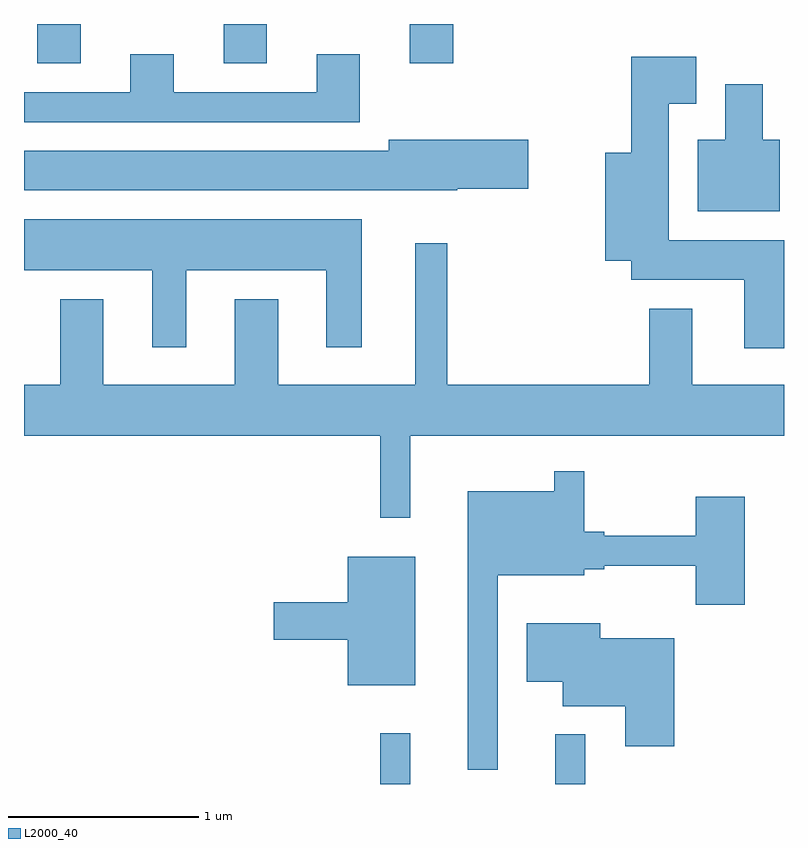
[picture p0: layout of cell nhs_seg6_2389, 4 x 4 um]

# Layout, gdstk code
import gdstk
lib = gdstk.Library(unit=1e-6, precision=1e-09)
def R(c, l, rs):  # rectangles x0, y0, x1, y1
    for r in rs: c.add(gdstk.rectangle(r[:2], r[2:], *l))
def A(c, l, x, y, w, h, nx, ny, dx, dy):  # array of equal rectangles
    R(c, l, [(x+i*dx, y+j*dy, x+i*dx+w, y+j*dy+h) for i in range(nx) for j in range(ny)])
def P(c, l, *ps):  # polygons
    for p in ps: c.add(gdstk.Polygon(p, *l))
L2000_40 = (2000, 40)

nhs_seg6_2389 = lib.new_cell('nhs_seg6_2389')
A(nhs_seg6_2389, L2000_40, 257.681, 1591.956, 0.228, 0.206, 3, 1, 0.98, 0)
R(nhs_seg6_2389, L2000_40, [(259.486,1588.162,259.644,1588.428), (260.406,1588.162,260.564,1588.423)])
P(nhs_seg6_2389, L2000_40, [(259.379,1592.004),(259.151,1592.004),(259.151,1591.804),(258.399,1591.804),(258.399,1592.004),(258.171,1592.004),(258.171,1591.804),(257.611,1591.804),(257.611,1591.646),(259.379,1591.646)],
  [(261.611,1591.024),(261.004,1591.024),(261.004,1591.741),(261.149,1591.741),(261.149,1591.989),(260.806,1591.989),(260.806,1591.484),(260.671,1591.484),(260.671,1590.916),(260.806,1590.916),(260.806,1590.816),(261.401,1590.816),(261.401,1590.456),(261.611,1590.456)],
  [(261.589,1591.554),(261.499,1591.554),(261.499,1591.844),(261.301,1591.844),(261.301,1591.554),(261.156,1591.554),(261.156,1591.176),(261.589,1591.176)],
  [(259.89,1591.296),(260.264,1591.296),(260.264,1591.554),(259.531,1591.554),(259.531,1591.494),(257.611,1591.494),(257.611,1591.286),(259.89,1591.286)],
  [(258.464,1590.866),(259.201,1590.866),(259.201,1590.461),(259.389,1590.461),(259.389,1591.134),(257.611,1591.134),(257.611,1590.866),(258.286,1590.866),(258.286,1590.461),(258.464,1590.461)],
  [(259.644,1589.996),(261.611,1589.996),(261.611,1590.264),(261.129,1590.264),(261.129,1590.664),(260.901,1590.664),(260.901,1590.264),(259.839,1590.264),(259.839,1591.008),(259.671,1591.008),(259.671,1590.264),(258.949,1590.264),(258.949,1590.714),(258.721,1590.714),(258.721,1590.264),(258.029,1590.264),(258.029,1590.714),(257.801,1590.714),(257.801,1590.264),(257.611,1590.264),(257.611,1589.996),(259.486,1589.996),(259.486,1589.563),(259.644,1589.563)],
  [(260.104,1589.261),(260.559,1589.261),(260.559,1589.291),(260.664,1589.291),(260.664,1589.311),(261.146,1589.311),(261.146,1589.106),(261.404,1589.106),(261.404,1589.674),(261.146,1589.674),(261.146,1589.469),(260.664,1589.469),(260.664,1589.489),(260.559,1589.489),(260.559,1589.808),(260.401,1589.808),(260.401,1589.704),(259.946,1589.704),(259.946,1588.238),(260.104,1588.238)],
  [(259.669,1589.359),(259.316,1589.359),(259.316,1589.119),(258.926,1589.119),(258.926,1588.921),(259.316,1588.921),(259.316,1588.681),(259.669,1588.681)],
  [(261.034,1588.929),(260.644,1588.929),(260.644,1589.009),(260.256,1589.009),(260.256,1588.701),(260.446,1588.701),(260.446,1588.571),(260.776,1588.571),(260.776,1588.361),(261.034,1588.361)])

lib.write_gds('nhs_seg6_2389.gds')
